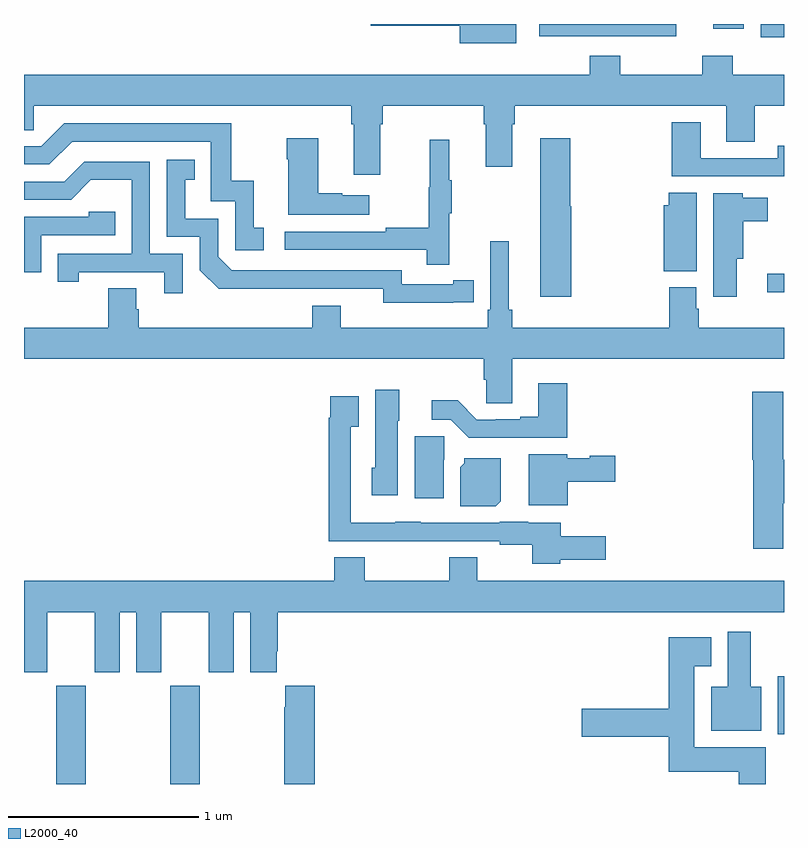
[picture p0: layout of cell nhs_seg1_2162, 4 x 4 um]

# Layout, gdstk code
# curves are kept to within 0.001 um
import gdstk
lib = gdstk.Library(unit=1e-6, precision=1e-09)
def R(c, l, rs):  # rectangles x0, y0, x1, y1
    for r in rs: c.add(gdstk.rectangle(r[:2], r[2:], *l))
def P(c, l, *ps):  # polygons
    for p in ps: c.add(gdstk.Polygon(p, *l))
L2000_40 = (2000, 40)

nhs_seg1_2162 = lib.new_cell('nhs_seg1_2162')
R(nhs_seg1_2162, L2000_40, [(229.171,512.199,229.326,512.716), (229.771,512.199,229.926,512.716), (232.967,512.462,233,512.767), (232.911,514.787,233,514.884), (232.878,516.128,233,516.199), (231.711,516.134,232.432,516.199), (232.628,516.174,232.789,516.199)])
P(nhs_seg1_2162, L2000_40, [(231.592,516.199),(230.826,516.199),(230.826,516.191),(231.293,516.191),(231.293,516.098),(231.592,516.098)],
  [(230.875,515.672),(230.888,515.672),(230.888,515.768),(231.419,515.768),(231.419,515.672),(231.431,515.672),(231.431,515.448),(231.571,515.448),(231.571,515.672),(231.584,515.672),(231.584,515.768),(232.697,515.768),(232.697,515.578),(232.845,515.578),(232.845,515.768),(233,515.768),(233,515.932),(232.73,515.932),(232.73,516.031),(232.57,516.031),(232.57,515.932),(232.137,515.932),(232.137,516.031),(231.977,516.031),(231.977,515.932),(229,515.932),(229,515.641),(229.05,515.641),(229.05,515.768),(230.723,515.768),(230.723,515.672),(230.735,515.672),(230.735,515.406),(230.875,515.406)],
  [(233,515.557),(232.966,515.557),(232.966,515.493),(232.561,515.493),(232.561,515.683),(232.409,515.683),(232.409,515.397),(233,515.397)],
  [(230.263,515.127),(230.21,515.127),(230.21,515.374),(230.092,515.374),(230.092,515.676),(229.212,515.676),(229.092,515.556),(229,515.556),(229,515.46),(229.134,515.46),(229.254,515.58),(229.983,515.58),(229.983,515.265),(230.112,515.265),(230.112,515.007),(230.263,515.007)],
  [(231.88,515.241),(231.875,515.241),(231.875,515.599),(231.716,515.599),(231.716,514.764),(231.88,514.764)],
  [(230.818,515.299),(230.675,515.299),(230.675,515.309),(230.548,515.309),(230.548,515.599),(230.383,515.599),(230.383,515.486),(230.39,515.486),(230.39,515.195),(230.818,515.195)],
  [(231.239,515.203),(231.25,515.203),(231.25,515.377),(231.239,515.377),(231.239,515.59),(231.136,515.59),(231.136,515.34),(231.129,515.34),(231.129,515.126),(230.905,515.126),(230.905,515.106),(230.373,515.106),(230.373,515.01),(231.121,515.01),(231.121,514.932),(231.239,514.932)],
  [(231.26,514.734),(231.368,514.734),(231.368,514.85),(231.26,514.85),(231.26,514.83),(230.988,514.83),(230.988,514.902),(230.094,514.902),(230.022,514.974),(230.022,515.175),(229.849,515.175),(229.849,515.379),(229.898,515.379),(229.898,515.485),(229.752,515.485),(229.752,515.079),(229.926,515.079),(229.926,514.902),(230.024,514.805),(230.892,514.806),(230.892,514.733)],
  [(229.836,514.989),(229.662,514.989),(229.662,515.475),(229.316,515.475),(229.211,515.37),(229,515.37),(229,515.274),(229.248,515.274),(229.352,515.378),(229.566,515.378),(229.566,514.989),(229.177,514.989),(229.177,514.842),(229.288,514.842),(229.288,514.893),(229.739,514.893),(229.739,514.782),(229.836,514.782)],
  [(232.54,515.312),(232.394,515.312),(232.394,515.245),(232.367,515.245),(232.367,514.898),(232.54,514.898)],
  [(232.75,514.964),(232.786,514.964),(232.786,515.162),(232.915,515.162),(232.915,515.284),(232.782,515.284),(232.782,515.308),(232.628,515.308),(232.628,514.764),(232.75,514.764)],
  [(229.092,515.088),(229.481,515.088),(229.481,515.211),(229.341,515.211),(229.341,515.184),(229,515.184),(229,514.893),(229.092,514.893)],
  [(231.571,514.436),(233,514.436),(233,514.6),(232.55,514.6),(232.55,514.701),(232.537,514.701),(232.537,514.813),(232.397,514.813),(232.397,514.6),(231.569,514.6),(231.569,514.696),(231.55,514.696),(231.55,515.056),(231.453,515.056),(231.453,514.696),(231.44,514.696),(231.44,514.6),(230.668,514.6),(230.668,514.717),(230.516,514.717),(230.516,514.6),(229.604,514.6),(229.604,514.698),(229.591,514.698),(229.591,514.808),(229.444,514.808),(229.444,514.6),(229,514.6),(229,514.436),(231.419,514.436),(231.419,514.326),(231.432,514.326),(231.432,514.204),(231.571,514.204)],
  [(231.86,514.309),(231.707,514.309),(231.707,514.132),(231.611,514.132),(231.611,514.119),(231.484,514.119),(231.484,514.116),(231.384,514.116),(231.282,514.219),(231.147,514.219),(231.147,514.116),(231.246,514.116),(231.34,514.022),(231.86,514.022)],
  [(230.968,514.11),(230.974,514.11),(230.974,514.273),(230.849,514.273),(230.849,513.864),(230.831,513.864),(230.831,513.72),(230.968,513.72)],
  [(232.996,513.676),(233,513.676),(233,513.906),(232.996,513.906),(232.996,514.264),(232.832,514.264),(232.832,513.906),(232.838,513.906),(232.838,513.438),(232.996,513.438)],
  [(231.822,513.38),(232.063,513.38),(232.063,513.502),(231.826,513.502),(231.826,513.574),(231.654,513.574),(231.654,513.58),(231.504,513.58),(231.504,513.573),(231.087,513.573),(231.087,513.58),(230.955,513.58),(230.955,513.574),(230.721,513.574),(230.721,514.079),(230.761,514.079),(230.761,514.24),(230.613,514.24),(230.613,514.127),(230.605,514.127),(230.605,513.477),(230.855,513.477),(230.855,513.476),(231.087,513.476),(231.087,513.477),(231.504,513.477),(231.504,513.458),(231.674,513.458),(231.674,513.359),(231.822,513.359)],
  [(231.208,513.906),(231.212,513.906),(231.212,514.029),(231.056,514.029),(231.056,513.702),(231.208,513.702)],
  [(231.862,513.791),(232.111,513.791),(232.111,513.926),(231.978,513.926),(231.978,513.913),(231.858,513.913),(231.858,513.934),(231.656,513.934),(231.656,513.665),(231.862,513.665)],
  [(231.508,513.688),(231.508,513.913),(231.318,513.913),(231.318,513.888),(231.296,513.866),(231.296,513.662),(231.482,513.662)],
  [(229.123,513.104),(229.373,513.104),(229.373,512.787),(229.504,512.787),(229.504,513.104),(229.592,513.104),(229.592,512.787),(229.723,512.787),(229.723,513.104),(229.973,513.104),(229.973,512.787),(230.104,512.787),(230.104,513.104),(230.192,513.104),(230.192,512.787),(230.329,512.787),(230.329,512.899),(230.336,512.899),(230.336,513.104),(233,513.104),(233,513.268),(231.385,513.268),(231.385,513.392),(231.238,513.392),(231.238,513.268),(230.793,513.268),(230.793,513.392),(230.633,513.392),(230.633,513.268),(229,513.268),(229,512.787),(229.123,512.787)],
  [(232.879,512.71),(232.825,512.71),(232.825,513.001),(232.703,513.001),(232.703,512.71),(232.616,512.71),(232.616,512.48),(232.879,512.48)],
  [(232.903,512.392),(232.528,512.392),(232.528,512.819),(232.618,512.819),(232.618,512.971),(232.394,512.971),(232.394,512.594),(231.936,512.594),(231.936,512.447),(232.394,512.447),(232.394,512.264),(232.763,512.264),(232.763,512.199),(232.903,512.199)],
  [(230.531,512.716),(230.375,512.716),(230.375,512.603),(230.371,512.603),(230.371,512.199),(230.531,512.199)])

lib.write_gds('nhs_seg1_2162.gds')
